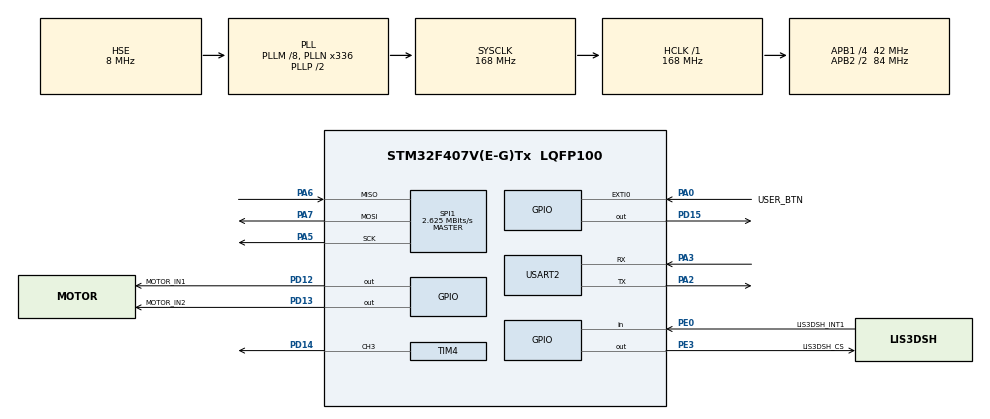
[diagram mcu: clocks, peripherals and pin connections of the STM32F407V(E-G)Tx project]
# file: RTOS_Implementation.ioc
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FREERTOS.Tasks01=defaultTask,24,512,StartDefaultTask,Default,NULL,Dynamic,NULL,NULL
FREERTOS.configCHECK_FOR_STACK_OVERFLOW=2
FREERTOS.configGENERATE_RUN_TIME_STATS=0
FREERTOS.configTOTAL_HEAP_SIZE=40960
FREERTOS.configUSE_IDLE_HOOK=1
FREERTOS.configUSE_MALLOC_FAILED_HOOK=1
FREERTOS.configUSE_NEWLIB_REENTRANT=1
FREERTOS.configUSE_STATS_FORMATTING_FUNCTIONS=1
FREERTOS.configUSE_TICK_HOOK=1
Mcu.Family=STM32F4
Mcu.Name=STM32F407V(E-G)Tx
Mcu.Package=LQFP100
NVIC.EXTI0_IRQn=true\:5\:0\:true\:false\:true\:true\:true\:true\:true
NVIC.PriorityGroup=NVIC_PRIORITYGROUP_4
NVIC.TIM6_DAC_IRQn=true\:15\:0\:false\:false\:true\:false\:false\:true\:true
NVIC.TimeBase=TIM6_DAC_IRQn
NVIC.TimeBaseIP=TIM6
NVIC.USART2_IRQn=true\:5\:0\:true\:false\:true\:true\:true\:true\:true
PA0-WKUP.GPIO_Label=USER_BTN
PA0-WKUP.GPIO_PuPd=GPIO_PULLDOWN
PA0-WKUP.Signal=GPXTI0
PA13.Mode=Serial_Wire
PA13.Signal=SYS_JTMS-SWDIO
PA14.Mode=Serial_Wire
PA14.Signal=SYS_JTCK-SWCLK
PA2.Mode=Asynchronous
PA2.Signal=USART2_TX
PA3.Mode=Asynchronous
PA3.Signal=USART2_RX
PA5.Mode=Full_Duplex_Master
PA5.Signal=SPI1_SCK
PA6.Mode=Full_Duplex_Master
PA6.Signal=SPI1_MISO
PA7.Mode=Full_Duplex_Master
PA7.Signal=SPI1_MOSI
PD12.GPIO_Label=MOTOR_IN1
PD12.Signal=GPIO_Output
PD13.GPIO_Label=MOTOR_IN2
PD13.Signal=GPIO_Output
PD14.Signal=S_TIM4_CH3
PD15.Signal=GPIO_Output
PE0.GPIO_Label=LIS3DSH_INT1
PE0.Signal=GPIO_Input
PE3.GPIO_Label=LIS3DSH_CS
PE3.GPIO_Speed=GPIO_SPEED_FREQ_HIGH
PE3.PinState=GPIO_PIN_SET
PE3.Signal=GPIO_Output
PH0-OSC_IN.Mode=HSE-External-Oscillator
PH0-OSC_IN.Signal=RCC_OSC_IN
PH1-OSC_OUT.Mode=HSE-External-Oscillator
PH1-OSC_OUT.Signal=RCC_OSC_OUT
ProjectManager.HeapSize=0x200
ProjectManager.StackSize=0x400
ProjectManager.TargetToolchain=STM32CubeIDE
RCC.48MHZClocksFreq_Value=84000000
RCC.AHBFreq_Value=168000000
RCC.APB1CLKDivider=RCC_HCLK_DIV4
RCC.APB1Freq_Value=42000000
RCC.APB1TimFreq_Value=84000000
RCC.APB2CLKDivider=RCC_HCLK_DIV2
RCC.APB2Freq_Value=84000000
RCC.APB2TimFreq_Value=168000000
RCC.CortexFreq_Value=168000000
RCC.HCLKFreq_Value=168000000
RCC.HSE_VALUE=8000000
RCC.HSI_VALUE=16000000
RCC.LSE_VALUE=32768
RCC.PLLM=8
RCC.PLLN=336
RCC.PLLSourceVirtual=RCC_PLLSOURCE_HSE
RCC.SYSCLKFreq_VALUE=168000000
RCC.SYSCLKSource=RCC_SYSCLKSOURCE_PLLCLK
RCC.VCOOutputFreq_Value=336000000
SH.S_TIM4_CH3.0=TIM4_CH3,PWM Generation3 CH3
SPI1.BaudRatePrescaler=SPI_BAUDRATEPRESCALER_32
SPI1.CalculateBaudRate=2.625 MBits/s
SPI1.Direction=SPI_DIRECTION_2LINES
SPI1.Mode=SPI_MODE_MASTER
SPI1.VirtualType=VM_MASTER
TIM4.AutoReloadPreload=TIM_AUTORELOAD_PRELOAD_ENABLE
TIM4.Channel-PWM\ Generation3\ CH3=TIM_CHANNEL_3
TIM4.Period=999
TIM4.Prescaler=167
USART2.VirtualMode=VM_ASYNC
VP_FREERTOS_VS_CMSIS_V2.Mode=CMSIS_V2
VP_SYS_VS_tim6.Mode=TIM6
VP_TIM4_VS_ClockSourceINT.Mode=Internal
board=custom

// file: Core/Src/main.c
/* USER CODE BEGIN Header */
/**
  ******************************************************************************
  * @file           : main.c
  * @brief          : Main program body
  ******************************************************************************
  * @attention
  *
  * Copyright (c) 2026 STMicroelectronics.
  * All rights reserved.
  *
  * This software is licensed under terms that can be found in the LICENSE file
  * in the root directory of this software component.
  * If no LICENSE file comes with this software, it is provided AS-IS.
  *
  ******************************************************************************
  */
/* USER CODE END Header */
#include "main.h"
#include "cmsis_os.h"
#include "spi.h"
#include "tim.h"
#include "usart.h"
#include "gpio.h"

/* USER CODE BEGIN Includes */
#include "uart.h"
#include "motor.h"
#include "lis3dsh.h"
#include "FreeRTOS.h"
#include "workload.h"
#include "metrics.h"
#include "scheduler.h"
#include "sweep.h"
/* USER CODE END Includes */

void SystemClock_Config(void);
void MX_FREERTOS_Init(void);

int main(void)
{

  /* MCU Configuration--------------------------------------------------------*/

  /* Reset of all peripherals, Initializes the Flash interface and the Systick. */
  HAL_Init();

  /* Configure the system clock */
  SystemClock_Config();

  /* Initialize all configured peripherals */
  MX_GPIO_Init();
  MX_SPI1_Init();
  MX_TIM4_Init();
  MX_USART2_UART_Init();
  /* USER CODE BEGIN 2 */
  GPIO_InitTypeDef led = {0};
  led.Pin   = GPIO_PIN_15;
  led.Mode  = GPIO_MODE_OUTPUT_PP;
  led.Pull  = GPIO_NOPULL;
  led.Speed = GPIO_SPEED_FREQ_LOW;
  HAL_GPIO_Init(GPIOD, &led);

  /* DWT cycle counter — response time and overhead measurement */
  CoreDebug->DEMCR |= CoreDebug_DEMCR_TRCENA_Msk;
  DWT->CYCCNT = 0;
  DWT->CTRL  |= DWT_CTRL_CYCCNTENA_Msk;

  UART_Print("\r\n=== RTOS Benchmark: init ===\r\n");

  /* Motor PWM — start channel, leave stopped */
  HAL_TIM_PWM_Start(&htim4, TIM_CHANNEL_3);
  Motor_Set(MOTOR_STOP, 0);
  UART_Print("Motor    OK\r\n");

  /* Accelerometer — 200ms power-up and WHO_AM_I inside Init */
  if (LIS3DSH_Init(&hspi1) != HAL_OK) {
      UART_Print("LIS3DSH  FAIL\r\n");
      Error_Handler();
  }
  UART_Print("LIS3DSH  OK\r\n");

  UART_Printf("Tick rate: %lu Hz\r\n", (unsigned long)configTICK_RATE_HZ);

  Workload_Calibrate();
  UART_Printf("  cyc/iter (Q16) = %lu\r\n", (unsigned long)Workload_GetCyclesPerIterQ16());
  /* Workload calibration check */
  UART_Print("--- burn calibration ---\r\n");
  UART_Printf("  req 100us -> %lu us\r\n", (unsigned long)Workload_MeasureBurn(100));
  UART_Printf("  req 1000us -> %lu us\r\n", (unsigned long)Workload_MeasureBurn(1000));
  UART_Printf("  req 5000us -> %lu us\r\n", (unsigned long)Workload_MeasureBurn(5000));
  UART_Printf("  real task U = %d%%\r\n", (int)(Workload_GetRealUtilization() * 100));

  Metrics_Init();
  SweepPoint_t pt = Sweep_Begin();          /* picks task set, scheduler, U, trial */
  Workload_SetTargetUtilization(pt.u);
  UART_Print("--- accel timing ---\r\n");
  {
    LIS3DSH_Data_t d;
    for (int i = 0; i < 5; i++) {
      uint32_t t0 = DWT->CYCCNT;
      LIS3DSH_ReadXYZ(&d);
      uint32_t us = (DWT->CYCCNT - t0) / (SystemCoreClock / 1000000U);
      UART_Printf("  read %d: %lu us\r\n", i, (unsigned long)us);
    }
  }
  UART_Printf("CYCLES_PER_TICK = %lu, SystemCoreClock = %lu\r\n",
              (unsigned long)CYCLES_PER_TICK,
              (unsigned long)SystemCoreClock);
  UART_Print("=== starting scheduler =========\r\n\r\n");

  /* USER CODE END 2 */

  /* Init scheduler */
  osKernelInitialize();  /* Call init function for freertos objects (in cmsis_os2.c) */
  MX_FREERTOS_Init();

  /* Start scheduler */
  osKernelStart();

  /* We should never get here as control is now taken by the scheduler */

  /* Infinite loop */
  while (1)
  {

  }
}

void SystemClock_Config(void)
{
  RCC_OscInitTypeDef RCC_OscInitStruct = {0};
  RCC_ClkInitTypeDef RCC_ClkInitStruct = {0};

  /** Configure the main internal regulator output voltage
  */
  __HAL_RCC_PWR_CLK_ENABLE();
  __HAL_PWR_VOLTAGESCALING_CONFIG(PWR_REGULATOR_VOLTAGE_SCALE1);

  /** Initializes the RCC Oscillators according to the specified parameters
  * in the RCC_OscInitTypeDef structure.
  */
  RCC_OscInitStruct.OscillatorType = RCC_OSCILLATORTYPE_HSE;
  RCC_OscInitStruct.HSEState = RCC_HSE_ON;
  RCC_OscInitStruct.PLL.PLLState = RCC_PLL_ON;
  RCC_OscInitStruct.PLL.PLLSource = RCC_PLLSOURCE_HSE;
  RCC_OscInitStruct.PLL.PLLM = 8;
  RCC_OscInitStruct.PLL.PLLN = 336;
  RCC_OscInitStruct.PLL.PLLP = RCC_PLLP_DIV2;
  RCC_OscInitStruct.PLL.PLLQ = 4;
  if (HAL_RCC_OscConfig(&RCC_OscInitStruct) != HAL_OK)
  {
    Error_Handler();
  }

  /** Initializes the CPU, AHB and APB buses clocks
  */
  RCC_ClkInitStruct.ClockType = RCC_CLOCKTYPE_HCLK|RCC_CLOCKTYPE_SYSCLK
                              |RCC_CLOCKTYPE_PCLK1|RCC_CLOCKTYPE_PCLK2;
  RCC_ClkInitStruct.SYSCLKSource = RCC_SYSCLKSOURCE_PLLCLK;
  RCC_ClkInitStruct.AHBCLKDivider = RCC_SYSCLK_DIV1;
  RCC_ClkInitStruct.APB1CLKDivider = RCC_HCLK_DIV4;
  RCC_ClkInitStruct.APB2CLKDivider = RCC_HCLK_DIV2;

  if (HAL_RCC_ClockConfig(&RCC_ClkInitStruct, FLASH_LATENCY_5) != HAL_OK)
  {
    Error_Handler();
  }
}

void HAL_TIM_PeriodElapsedCallback(TIM_HandleTypeDef *htim)
{
  if (htim->Instance == TIM6)
  {
    HAL_IncTick();
  }
}

void Error_Handler(void)
{
  __disable_irq();
  while (1)
  {
  }
}

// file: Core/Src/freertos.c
/* USER CODE BEGIN Header */
/**
  ******************************************************************************
  * File Name          : freertos.c
  * Description        : Code for freertos applications
  ******************************************************************************
  * @attention
  *
  * Copyright (c) 2026 STMicroelectronics.
  * All rights reserved.
  *
  * This software is licensed under terms that can be found in the LICENSE file
  * in the root directory of this software component.
  * If no LICENSE file comes with this software, it is provided AS-IS.
  *
  ******************************************************************************
  */
/* USER CODE END Header */

#include "FreeRTOS.h"
#include "task.h"
#include "main.h"
#include "cmsis_os.h"

/* USER CODE BEGIN Includes */
#include "uart.h"
#include "motor.h"
#include "lis3dsh.h"
#include "task_bodies.h"
#include "scheduler.h"
/* USER CODE END Includes */

/* Definitions for defaultTask */
osThreadId_t defaultTaskHandle;
const osThreadAttr_t defaultTask_attributes = {
  .name = "defaultTask",
  .stack_size = 512 * 4,
  .priority = (osPriority_t) osPriorityIdle,
};
volatile uint32_t btn_count = 0;
volatile uint32_t idle_counter = 0;

void StartDefaultTask(void *argument);

void MX_FREERTOS_Init(void); /* (MISRA C 2004 rule 8.1) */

/* Hook prototypes */
void vApplicationIdleHook(void);
void vApplicationTickHook(void);
void vApplicationStackOverflowHook(xTaskHandle xTask, signed char *pcTaskName);
void vApplicationMallocFailedHook(void);

/* USER CODE BEGIN 2 */
void vApplicationIdleHook( void )
{
   /* vApplicationIdleHook() will only be called if configUSE_IDLE_HOOK is set
   to 1 in FreeRTOSConfig.h. It will be called on each iteration of the idle
   task. It is essential that code added to this hook function never attempts
   to block in any way (for example, call xQueueReceive() with a block time
   specified, or call vTaskDelay()). If the application makes use of the
   vTaskDelete() API function (as this demo application does) then it is also
   important that vApplicationIdleHook() is permitted to return to its calling
   function, because it is the responsibility of the idle task to clean up
   memory allocated by the kernel to any task that has since been deleted. */
   idle_counter++;
}
/* USER CODE END 2 */

/* USER CODE BEGIN 3 */
/*Defined in scheduler_dms.c/scheduler_edf.c */
/* USER CODE END 3 */

/* USER CODE BEGIN 4 */
void vApplicationStackOverflowHook(xTaskHandle xTask, signed char *pcTaskName)
{
   /* Run time stack overflow checking is performed if
   configCHECK_FOR_STACK_OVERFLOW is defined to 1 or 2. This hook function is
   called if a stack overflow is detected. */
}
/* USER CODE END 4 */

/* USER CODE BEGIN 5 */
void vApplicationMallocFailedHook(void)
{
   /* vApplicationMallocFailedHook() will only be called if
   configUSE_MALLOC_FAILED_HOOK is set to 1 in FreeRTOSConfig.h. It is a hook
   function that will get called if a call to pvPortMalloc() fails.
   pvPortMalloc() is called internally by the kernel whenever a task, queue,
   timer or semaphore is created. It is also called by various parts of the
   demo application. If heap_1.c or heap_2.c are used, then the size of the
   heap available to pvPortMalloc() is defined by configTOTAL_HEAP_SIZE in
   FreeRTOSConfig.h, and the xPortGetFreeHeapSize() API function can be used
   to query the size of free heap space that remains (although it does not
   provide information on how the remaining heap might be fragmented). */
}
/* USER CODE END 5 */

void MX_FREERTOS_Init(void) {

  /* Create the thread(s) */
  /* creation of defaultTask */
  defaultTaskHandle = osThreadNew(StartDefaultTask, NULL, &defaultTask_attributes);

  /* USER CODE BEGIN RTOS_THREADS */
  /* add threads, ... */
  Scheduler_Init();
  /* USER CODE END RTOS_THREADS */

}

void StartDefaultTask(void *argument)
{
  /* USER CODE BEGIN StartDefaultTask */

	  ReporterTaskBody(NULL);
  /* USER CODE END StartDefaultTask */
}

/* USER CODE BEGIN Application */
void HAL_GPIO_EXTI_Callback(uint16_t GPIO_Pin)
{
    if (GPIO_Pin == GPIO_PIN_0) {
        static uint32_t last = 0;
        uint32_t now = HAL_GetTick();
        if ((now - last) > 200) {
            last = now;
            btn_count++;
        }
    }
}
/* USER CODE END Application */
